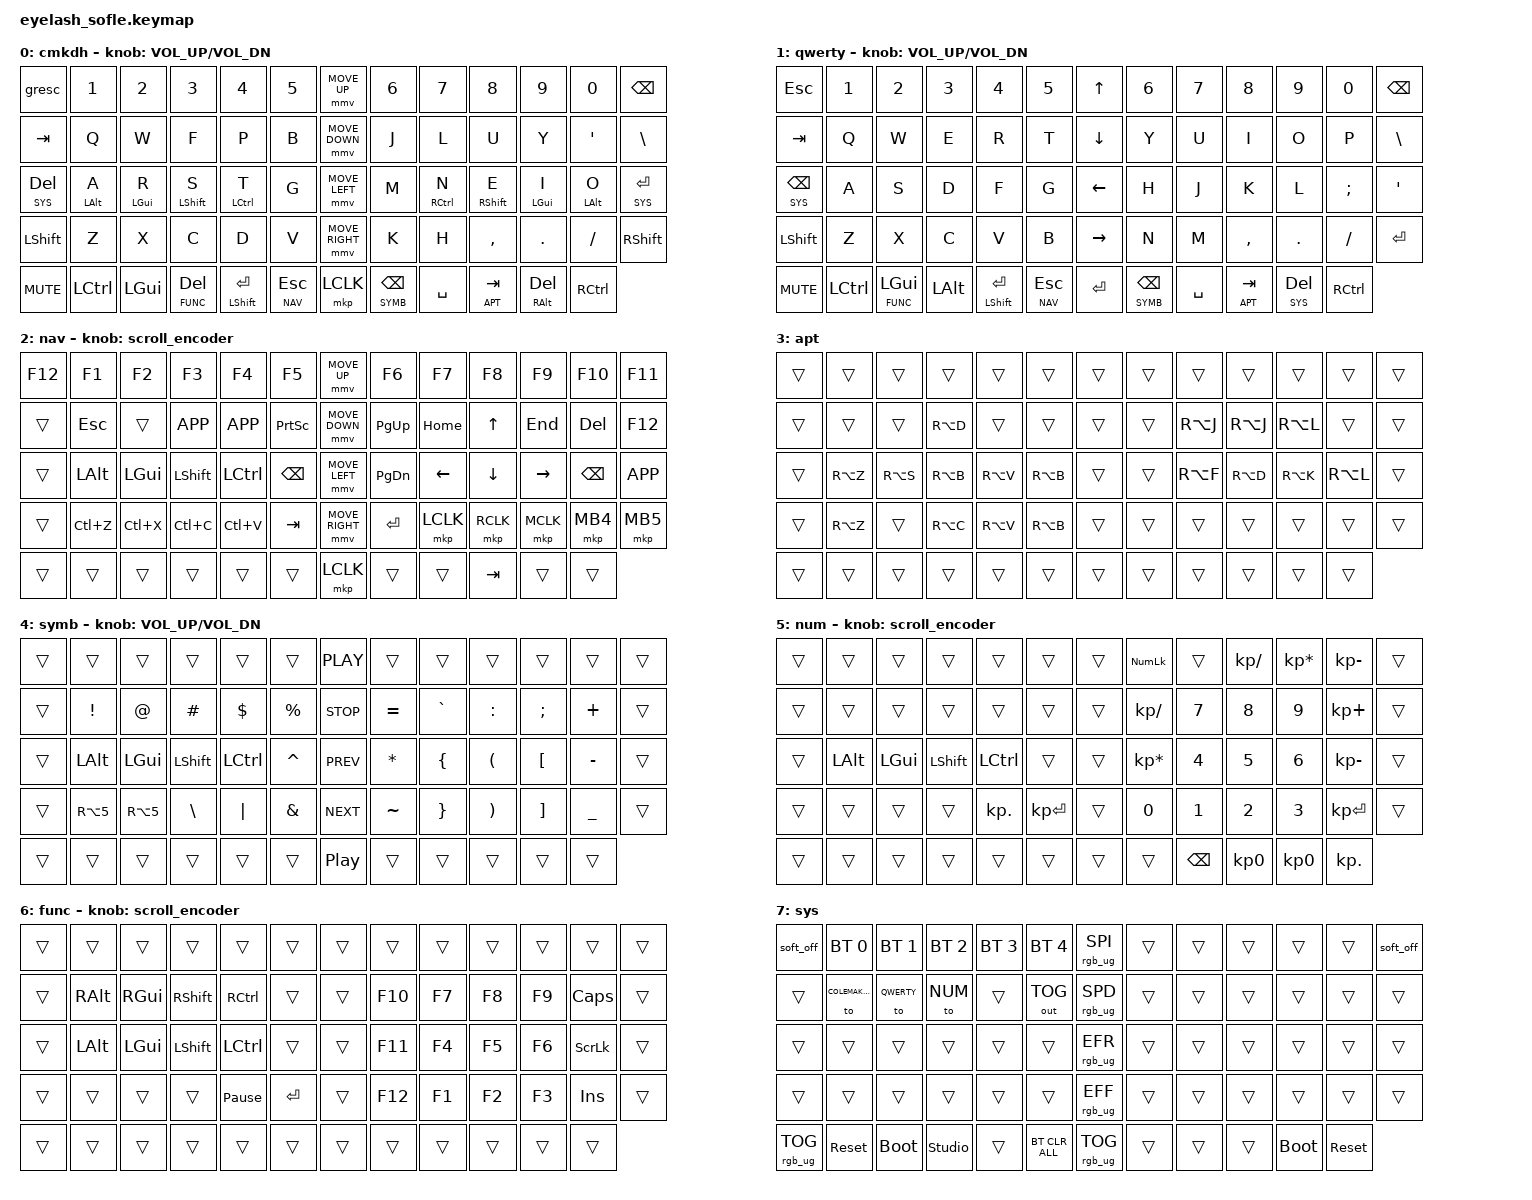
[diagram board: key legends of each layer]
// TODO refine layout key positions
// TODO tune the delays for the home row and other dual keys
// TODO see if a solution for rolling activations
// TODO find a better pic for the screens
// TODO figure out how to do rgb dialer

#define ZMK_POINTING_DEFAULT_MOVE_VAL 1200  // 600
#define ZMK_POINTING_DEFAULT_SCRL_VAL 25    // 10
#include <input/processors.dtsi>
#include <behaviors.dtsi>
#include <dt-bindings/zmk/bt.h>
#include <dt-bindings/zmk/keys.h>
#include <dt-bindings/zmk/outputs.h>
#include <dt-bindings/zmk/pointing.h>
#include <dt-bindings/zmk/ext_power.h>
#include <dt-bindings/zmk/rgb.h>
#include <zephyr/dt-bindings/input/input-event-codes.h>

// Layer references
#define COLEMAKDH 0
#define QWERTY    1
#define NAV       2
#define APT       3
#define SYMB      4
#define NUM       5
#define FUNC      6
#define SYS       7


/ {
  zip_scroll_scaler: zip_scroll_scaler {
    compatible = "zmk,input-processor-scaler";
    #input-processor-cells = <2>;
    type = <INPUT_EV_REL>;
    codes = <INPUT_REL_WHEEL INPUT_REL_HWHEEL>;
    track-remainders;
  };
};

&mmv_input_listener { input-processors = <&zip_xy_scaler 2 1>; };
&msc_input_listener { input-processors = <&zip_scroll_scaler 2 1>; };

&msc {
    acceleration-exponent = <0>;      // 0
    time-to-max-speed-ms = <0>;       // 300
    delay-ms = <0>;                   // 0
};

&mmv {
    time-to-max-speed-ms = <400>;
    acceleration-exponent = <1>;
};

// ensures layer swap always takes priority and that
// quick taps in the backspace and esc don't trigger
// the layers
&lt {
    flavor = "hold-preferred";
    tapping-term-ms = <150>;
    // quick-tap-ms = <150>;
};


/ {
    // Home row mods
    // https://zmk.dev/docs/keymaps/behaviors/hold-tap?examples=home_row_mods
    hml: home_row_mod_left {
        compatible = "zmk,behavior-hold-tap";
        #binding-cells = <2>;
        flavor = "balanced";
        require-prior-idle-ms = <75>;
        tapping-term-ms = <210>;
        quick-tap-ms = <175>;
        bindings = <&kp>, <&kp>;
        hold-trigger-key-positions = < A R S T >; // List of keys on the right side of the keyboard
        hold-trigger-on-release;
    };
    hmr: home_row_mod_right {
        compatible = "zmk,behavior-hold-tap";
        #binding-cells = <2>;
        flavor = "balanced";
        require-prior-idle-ms = <75>;
        tapping-term-ms = <210>;
        quick-tap-ms = <175>;
        bindings = <&kp>, <&kp>;
        hold-trigger-key-positions = < N E I O >; // List of keys on the left side of the keyboard
        hold-trigger-on-release;
    };

    // 12x5 grid https://zmk.dev/docs/config/combos
    combos {
        compatible = "zmk,combos";
        combo_esc {
            timeout-ms = <50>;
            key-positions = <15 16>; // second row WE
            bindings = <&kp ESC>;
            layers = <COLEMAKDH>;
        };
        combo_tab {
            timeout-ms = <50>;
            key-positions = <41 42>; // forth row XC in orto, ZX on regular
            bindings = <&kp TAB>;
            layers = <COLEMAKDH>;
        };
        combo_backspace {
            timeout-ms = <50>;
            key-positions = <22 23>; // second row IO
            bindings = <&kp BSPC>;
            layers = <COLEMAKDH>;
        };
        combo_enter {
            timeout-ms = <50>;
            key-positions = <48 49>;  // forth row ,.
            bindings = <&kp ENTER>;
            layers = <COLEMAKDH>;
        };
    };

    // have combo layer
    // !WARNING: Can't use num as a normal layer because of this
    conditional_layers {
        compatible = "zmk,conditional-layers";
        tri_layer {
            if-layers = <NAV SYMB>;
            then-layer = <NUM>;
        };
    };

    scroll_encoder: scroll_encoder {
        compatible = "zmk,behavior-sensor-rotate";
        #sensor-binding-cells = <0>;
        bindings = <&msc SCRL_DOWN>, <&msc SCRL_UP>;
        tap-ms = <30>;
    };

    keymap {
        compatible = "zmk,keymap";

        // regular colemak-dh layout with home row mods (default)
        colemakdh {
            bindings = <
            &gresc      &kp N1      &kp N2      &kp N3        &kp N4          &kp N5       &mmv MOVE_UP     &kp N6        &kp N7        &kp N8       &kp N9       &kp N0      &kp BSPC
            &kp TAB     &kp Q       &kp W       &kp F         &kp P           &kp B        &mmv MOVE_DOWN   &kp J         &kp L         &kp U        &kp Y        &kp APOS    &kp BSLH
            &lt SYS DEL &hml LALT A &hml LGUI R &hml LSHFT S  &hml LCTRL T    &kp G        &mmv MOVE_LEFT   &kp M         &hmr RCTRL N  &hmr RSHFT E &hmr LGUI I  &hmr LALT O &lt SYS ENTER
            &kp LSHFT   &kp Z       &kp X       &kp C         &kp D           &kp V        &mmv MOVE_RIGHT  &kp K         &kp H         &kp COMMA    &kp DOT      &kp FSLH    &kp RSHIFT
            &kp C_MUTE  &kp LCTRL   &kp LGUI    &lt FUNC DEL  &mt LSHFT ENTER &lt NAV ESC  &mkp LCLK        &lt SYMB BSPC &kp SPACE     &lt APT TAB  &mt RALT DEL &kp RCTRL
            >;

            sensor-bindings = <&inc_dec_kp C_VOLUME_UP C_VOL_DN>;
            display-name = "cmkdh";
        };

        // regular qwerty layout for compatibility or guest users
        qwerty {
            bindings = <
            &kp ESC       &kp N1     &kp N2         &kp N3    &kp N4            &kp N5       &kp UP      &kp N6         &kp N7     &kp N8       &kp N9        &kp N0      &kp BSPC
            &kp TAB       &kp Q      &kp W          &kp E     &kp R             &kp T        &kp DOWN    &kp Y          &kp U      &kp I        &kp O         &kp P       &kp BSLH
            &lt SYS BSPC  &kp A      &kp S          &kp D     &kp F             &kp G        &kp LEFT    &kp H          &kp J      &kp K        &kp L         &kp SEMI    &kp APOS
            &kp LSHFT     &kp Z      &kp X          &kp C     &kp V             &kp B        &kp RIGHT   &kp N          &kp M      &kp COMMA    &kp DOT       &kp FSLH    &kp ENTER
            &kp C_MUTE    &kp LCTRL  &lt FUNC LGUI  &kp LALT  &mt LSHIFT ENTER  &lt NAV ESC  &kp ENTER   &lt SYMB BSPC  &kp SPACE  &lt APT TAB  &mt SYS DEL   &kp RCTRL
            >;

            sensor-bindings = <&inc_dec_kp C_VOLUME_UP C_VOL_DN>;
            display-name = "qwerty";
        };

        // // flipped qwerty for left handed gaming
        // game {
        //     bindings = <
        //     &trans         &trans  &trans  &trans  &trans  &trans  &kp UP     &kp ESC    &kp N1     &kp N2     &kp N3      &kp N4      &kp N5
        //     &to COLEMAKDH  &trans  &trans  &trans  &trans  &trans  &kp DOWN   &kp TAB    &kp Q      &kp W      &kp E       &kp R       &kp T
        //     &to QWERTY     &trans  &trans  &trans  &trans  &trans  &kp LEFT   &kp LCTRL  &kp A      &kp S      &kp D       &kp F       &kp G
        //     &to GAME       &trans  &trans  &trans  &trans  &trans  &kp RIGHT  &kp LSHFT  &kp Z      &kp X      &kp C       &kp V       &kp B
        //     &trans         &trans  &trans  &trans  &trans  &trans  &kp ENTER  &kp ENTER  &kp SPACE  &kp LCTRL  &kp RSHIFT  &kp M
        //     >;

        //     sensor-bindings = <&inc_dec_kp C_VOLUME_UP C_VOL_DN>;
        //     display-name = "game";
        // };

        // navigation
        nav {
            bindings = <
            &kp F12  &kp F1     &kp F2     &kp F3     &kp F4     &kp F5      &mmv MOVE_UP      &kp F6     &kp F7     &kp F8     &kp F9     &kp F10   &kp F11
            &trans   &kp ESC    &trans     &kp K_APP  &kp K_APP  &kp PSCRN   &mmv MOVE_DOWN    &kp PG_UP  &kp HOME   &kp UP     &kp END    &kp DEL   &kp F12
            &trans   &kp LALT   &kp LGUI   &kp LSHFT  &kp LCTRL  &kp BSPC    &mmv MOVE_LEFT    &kp PG_DN  &kp LEFT   &kp DOWN   &kp RIGHT  &kp BSPC  &kp K_APP
            &trans   &kp LC(Z)  &kp LC(X)  &kp LC(C)  &kp LC(V)  &kp TAB     &mmv MOVE_RIGHT   &kp ENTER  &mkp LCLK  &mkp RCLK  &mkp MCLK  &mkp MB4  &mkp MB5
            &trans   &trans     &trans     &trans     &trans     &trans      &mkp LCLK         &trans     &trans     &kp TAB    &trans     &trans
            >;

            display-name = "nav";
            sensor-bindings = <&scroll_encoder>;
        };

        // board functions and special portuguese (and other language) characters
        apt {
            bindings = <
            &trans  &trans    &trans    &trans    &trans    &trans     &trans   &trans  &trans    &trans    &trans    &trans    &trans
            &trans  &trans    &trans    &kp RA(D) &trans    &trans     &trans   &trans  &kp RA(J) &kp RA(J) &kp RA(L) &trans    &trans
            &trans  &kp RA(Z) &kp RA(S) &kp RA(B) &kp RA(V) &kp RA(B)  &trans   &trans  &kp RA(F) &kp RA(D) &kp RA(K) &kp RA(L) &trans
            &trans  &kp RA(Z) &trans    &kp RA(C) &kp RA(V) &kp RA(B)  &trans   &trans  &trans    &trans    &trans    &trans    &trans
            &trans  &trans    &trans    &trans    &trans    &trans     &trans   &trans  &trans    &trans    &trans    &trans
            >;

            display-name = "apt";
            // this needs to be a custom behavior to work
            //sensor-bindings = <&inc_dec_kp RGB_BRI RGB_BRD>;
        };


        // special symbols and multimedia
        symb {
            bindings = <
            &trans  &trans      &trans      &trans     &trans      &trans      &kp C_PLAY   &trans     &trans     &trans     &trans    &trans     &trans
            &trans  &kp EXCL    &kp AT      &kp HASH   &kp DOLLAR  &kp PRCNT   &kp C_STOP   &kp EQUAL  &kp GRAVE  &kp COLON  &kp SEMI  &kp PLUS   &trans
            &trans  &kp LALT    &kp LGUI    &kp LSHFT  &kp LCTRL   &kp CARET   &kp C_PREV   &kp STAR   &kp LBRC   &kp LPAR   &kp LBKT  &kp MINUS  &trans
            &trans  &kp RA(N5)  &kp RA(N5)  &kp BSLH   &kp PIPE    &kp AMPS    &kp C_NEXT   &kp TILDE  &kp RBRC   &kp RPAR   &kp RBKT  &kp UNDER  &trans
            &trans  &trans      &trans      &trans     &trans      &trans      &kp C_PP     &trans     &trans     &trans     &trans    &trans
            >;

            display-name = "symb";
            sensor-bindings = <&inc_dec_kp C_VOLUME_UP C_VOL_DN>;
        };

        // numpad layer for easy number
        num {
            bindings = <
            &trans  &trans    &trans    &trans     &trans     &trans          &trans   &kp KP_NLCK      &trans       &kp KP_SLASH  &kp KP_MULTIPLY  &kp KP_MINUS  &trans
            &trans  &trans    &trans    &trans     &trans     &trans          &trans   &kp KP_SLASH     &kp N7       &kp N8        &kp N9           &kp KP_PLUS   &trans
            &trans  &kp LALT  &kp LGUI  &kp LSHFT  &kp LCTRL  &trans          &trans   &kp KP_MULTIPLY  &kp N4       &kp N5        &kp N6           &kp KP_MINUS  &trans
            &trans  &trans    &trans    &trans     &kp KP_DOT &kp KP_ENTER    &trans   &kp N0           &kp N1       &kp N2        &kp N3           &kp KP_ENTER  &trans
            &trans  &trans    &trans    &trans     &trans     &trans          &trans   &trans           &kp BSPC     &kp KP_N0     &kp KP_N0        &kp KP_DOT
            >;

            display-name = "num";
            sensor-bindings = <&scroll_encoder>;
        };

        // function layer
        func {
            bindings = <
            &trans  &trans    &trans    &trans     &trans          &trans       &trans   &trans   &trans  &trans  &trans  &trans    &trans
            &trans  &kp RALT  &kp RGUI  &kp RSHFT  &kp RCTRL       &trans       &trans   &kp F10  &kp F7  &kp F8  &kp F9  &kp CAPS  &trans
            &trans  &kp LALT  &kp LGUI  &kp LSHFT  &kp LCTRL       &trans       &trans   &kp F11  &kp F4  &kp F5  &kp F6  &kp SLCK  &trans
            &trans  &trans    &trans    &trans     &kp PAUSE_BREAK &kp ENTER    &trans   &kp F12  &kp F1  &kp F2  &kp F3  &kp INS   &trans
            &trans  &trans    &trans    &trans     &trans          &trans       &trans   &trans   &trans  &trans  &trans  &trans
            >;

            display-name = "func";
            sensor-bindings = <&scroll_encoder>;
        };

        // board functions and special portuguese (and other language) characters
        sys {
            bindings = <
            &soft_off       &bt BT_SEL 0  &bt BT_SEL 1  &bt BT_SEL 2    &bt BT_SEL 3 &bt BT_SEL 4    &rgb_ug RGB_SPI  &trans &trans &trans &trans      &trans     &soft_off
            &trans          &to COLEMAKDH &to QWERTY    &to NUM         &trans       &out OUT_TOG    &rgb_ug RGB_SPD  &trans &trans &trans &trans      &trans     &trans
            &trans          &trans        &trans        &trans          &trans       &trans          &rgb_ug RGB_EFR  &trans &trans &trans &trans      &trans     &trans
            &trans          &trans        &trans        &trans          &trans       &trans          &rgb_ug RGB_EFF  &trans &trans &trans &trans      &trans     &trans
            &rgb_ug RGB_TOG &sys_reset    &bootloader   &studio_unlock  &trans       &bt BT_CLR_ALL  &rgb_ug RGB_TOG  &trans &trans &trans &bootloader &sys_reset
            >;

            display-name = "sys";
            // this needs to be a custom behavior to work
            //sensor-bindings = <&inc_dec_kp RGB_BRI RGB_BRD>;
        };
    };
};
